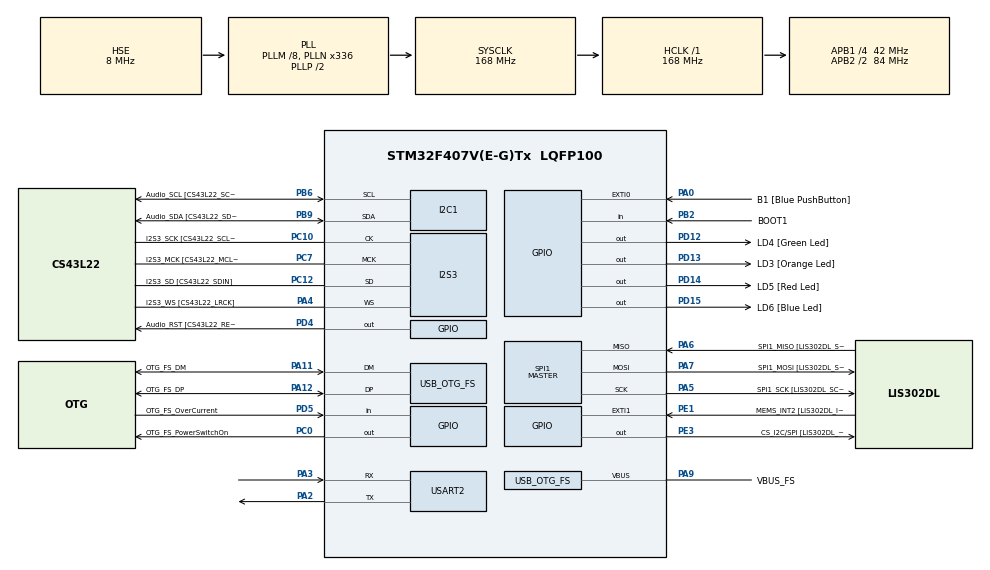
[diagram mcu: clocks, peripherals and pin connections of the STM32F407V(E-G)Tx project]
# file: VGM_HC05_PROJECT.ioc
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FREERTOS.Tasks01=defaultTask,0,128,StartDefaultTask,Default,NULL,Dynamic,NULL,NULL;Appl_Task1,-3,512,Application_Task1,Default,NULL,Dynamic,NULL,NULL
I2S3.AudioFreq-Half_Duplex_Master=I2S_AUDIOFREQ_96K
I2S3.ErrorAudioFreq=-2.34 %
I2S3.ErrorAudioFreq-Half_Duplex_Master=0.8 %
I2S3.FullDuplexMode=I2S_FULLDUPLEXMODE_DISABLE
I2S3.Instance=SPI$Index
I2S3.RealAudioFreq=93.75 KHz
I2S3.RealAudioFreq-Half_Duplex_Master=96.774 KHz
I2S3.VirtualMode=I2S_MODE_MASTER
Mcu.Family=STM32F4
Mcu.Name=STM32F407V(E-G)Tx
Mcu.Package=LQFP100
NVIC.OTG_FS_IRQn=true\:5\:0\:false\:false\:true\:true\:true\:true
NVIC.PriorityGroup=NVIC_PRIORITYGROUP_4
NVIC.TIM1_UP_TIM10_IRQn=true\:0\:0\:false\:false\:true\:false\:false\:true
NVIC.TimeBase=TIM1_UP_TIM10_IRQn
NVIC.TimeBaseIP=TIM1
PA0-WKUP.GPIO_Label=B1 [Blue PushButton]
PA0-WKUP.GPIO_ModeDefaultEXTI=GPIO_MODE_EVT_RISING
PA0-WKUP.GPIO_PuPd=GPIO_NOPULL
PA0-WKUP.Signal=GPXTI0
PA10.GPIO_Label=OTG_FS_ID
PA10.GPIO_Mode=GPIO_MODE_AF_PP
PA10.GPIO_PuPd=GPIO_NOPULL
PA10.GPIO_Speed=GPIO_SPEED_FREQ_LOW
PA10.Signal=USB_OTG_FS_ID
PA11.GPIO_Label=OTG_FS_DM
PA11.GPIO_Mode=GPIO_MODE_AF_PP
PA11.GPIO_PuPd=GPIO_NOPULL
PA11.GPIO_Speed=GPIO_SPEED_FREQ_LOW
PA11.Mode=Host_Only
PA11.Signal=USB_OTG_FS_DM
PA12.GPIO_Label=OTG_FS_DP
PA12.GPIO_Mode=GPIO_MODE_AF_PP
PA12.GPIO_PuPd=GPIO_NOPULL
PA12.GPIO_Speed=GPIO_SPEED_FREQ_LOW
PA12.Mode=Host_Only
PA12.Signal=USB_OTG_FS_DP
PA13.GPIO_Label=SWDIO
PA13.Mode=Serial_Wire
PA13.Signal=SYS_JTMS-SWDIO
PA14.GPIO_Label=SWCLK
PA14.Mode=Serial_Wire
PA14.Signal=SYS_JTCK-SWCLK
PA2.Mode=Asynchronous
PA2.Signal=USART2_TX
PA3.Mode=Asynchronous
PA3.Signal=USART2_RX
PA4.GPIO_Label=I2S3_WS [CS43L22_LRCK]
PA4.GPIO_Mode=GPIO_MODE_AF_PP
PA4.GPIO_PuPd=GPIO_NOPULL
PA4.GPIO_Speed=GPIO_SPEED_FREQ_LOW
PA4.Mode=Half_Duplex_Master
PA4.Signal=I2S3_WS
PA5.GPIO_Label=SPI1_SCK [LIS302DL_SCL/SPC]
PA5.GPIO_Mode=GPIO_MODE_AF_PP
PA5.GPIO_PuPd=GPIO_NOPULL
PA5.GPIO_Speed=GPIO_SPEED_FREQ_LOW
PA5.Mode=Full_Duplex_Master
PA5.Signal=SPI1_SCK
PA6.GPIO_Label=SPI1_MISO [LIS302DL_SDO]
PA6.GPIO_Mode=GPIO_MODE_AF_PP
PA6.GPIO_PuPd=GPIO_NOPULL
PA6.GPIO_Speed=GPIO_SPEED_FREQ_LOW
PA6.Mode=Full_Duplex_Master
PA6.Signal=SPI1_MISO
PA7.GPIO_Label=SPI1_MOSI [LIS302DL_SDA/SDI/SDO]
PA7.GPIO_Mode=GPIO_MODE_AF_PP
PA7.GPIO_PuPd=GPIO_NOPULL
PA7.GPIO_Speed=GPIO_SPEED_FREQ_LOW
PA7.Mode=Full_Duplex_Master
PA7.Signal=SPI1_MOSI
PA9.GPIO_Label=VBUS_FS
PA9.GPIO_Mode=GPIO_MODE_INPUT
PA9.GPIO_PuPd=GPIO_NOPULL
PA9.Mode=Activate_VBUS
PA9.Signal=USB_OTG_FS_VBUS
PB10.GPIO_Label=CLK_IN [MP45DT02_CLK]
PB10.GPIO_Mode=GPIO_MODE_AF_PP
PB10.GPIO_PuPd=GPIO_NOPULL
PB10.GPIO_Speed=GPIO_SPEED_FREQ_LOW
PB10.Signal=I2S2_CK
PB2.GPIO_Label=BOOT1
PB2.GPIO_Mode=GPIO_MODE_INPUT
PB2.GPIO_PuPd=GPIO_NOPULL
PB2.Signal=GPIO_Input
PB3.GPIO_Label=SWO
PB3.Signal=SYS_JTDO-SWO
PB6.GPIO_Label=Audio_SCL [CS43L22_SCL]
PB6.GPIO_Mode=GPIO_MODE_AF_OD
PB6.GPIO_PuPd=GPIO_NOPULL
PB6.GPIO_Speed=GPIO_SPEED_FREQ_LOW
PB6.Mode=I2C
PB6.Signal=I2C1_SCL
PB9.GPIO_Label=Audio_SDA [CS43L22_SDA]
PB9.GPIO_Mode=GPIO_MODE_AF_OD
PB9.GPIO_PuPd=GPIO_NOPULL
PB9.GPIO_Speed=GPIO_SPEED_FREQ_LOW
PB9.Mode=I2C
PB9.Signal=I2C1_SDA
PC0.GPIO_Label=OTG_FS_PowerSwitchOn
PC0.GPIO_PuPd=GPIO_NOPULL
PC0.GPIO_Speed=GPIO_SPEED_FREQ_LOW
PC0.PinState=GPIO_PIN_SET
PC0.Signal=GPIO_Output
PC10.GPIO_Label=I2S3_SCK [CS43L22_SCLK]
PC10.GPIO_Mode=GPIO_MODE_AF_PP
PC10.GPIO_PuPd=GPIO_NOPULL
PC10.GPIO_Speed=GPIO_SPEED_FREQ_LOW
PC10.Mode=Half_Duplex_Master
PC10.Signal=I2S3_CK
PC12.GPIO_Label=I2S3_SD [CS43L22_SDIN]
PC12.GPIO_Mode=GPIO_MODE_AF_PP
PC12.GPIO_PuPd=GPIO_NOPULL
PC12.GPIO_Speed=GPIO_SPEED_FREQ_LOW
PC12.Mode=Half_Duplex_Master
PC12.Signal=I2S3_SD
PC14-OSC32_IN.GPIO_Label=PC14-OSC32_IN
PC14-OSC32_IN.Mode=LSE-External-Oscillator
PC14-OSC32_IN.Signal=RCC_OSC32_IN
PC15-OSC32_OUT.GPIO_Label=PC15-OSC32_OUT
PC15-OSC32_OUT.Mode=LSE-External-Oscillator
PC15-OSC32_OUT.Signal=RCC_OSC32_OUT
PC3.GPIO_Label=PDM_OUT [MP45DT02_DOUT]
PC3.GPIO_Mode=GPIO_MODE_AF_PP
PC3.GPIO_PuPd=GPIO_NOPULL
PC3.GPIO_Speed=GPIO_SPEED_FREQ_LOW
PC3.Signal=I2S2_SD
PC7.GPIO_Label=I2S3_MCK [CS43L22_MCLK]
PC7.GPIO_Mode=GPIO_MODE_AF_PP
PC7.GPIO_PuPd=GPIO_NOPULL
PC7.GPIO_Speed=GPIO_SPEED_FREQ_LOW
PC7.Mode=Master_Clock_Activated
PC7.Signal=I2S3_MCK
PD12.GPIO_Label=LD4 [Green Led]
PD12.GPIO_PuPd=GPIO_NOPULL
PD12.GPIO_Speed=GPIO_SPEED_FREQ_LOW
PD12.Signal=GPIO_Output
PD13.GPIO_Label=LD3 [Orange Led]
PD13.GPIO_PuPd=GPIO_NOPULL
PD13.GPIO_Speed=GPIO_SPEED_FREQ_LOW
PD13.Signal=GPIO_Output
PD14.GPIO_Label=LD5 [Red Led]
PD14.GPIO_PuPd=GPIO_NOPULL
PD14.GPIO_Speed=GPIO_SPEED_FREQ_LOW
PD14.Signal=GPIO_Output
PD15.GPIO_Label=LD6 [Blue Led]
PD15.GPIO_PuPd=GPIO_NOPULL
PD15.GPIO_Speed=GPIO_SPEED_FREQ_LOW
PD15.Signal=GPIO_Output
PD4.GPIO_Label=Audio_RST [CS43L22_RESET]
PD4.GPIO_PuPd=GPIO_NOPULL
PD4.GPIO_Speed=GPIO_SPEED_FREQ_LOW
PD4.Signal=GPIO_Output
PD5.GPIO_Label=OTG_FS_OverCurrent
PD5.GPIO_Mode=GPIO_MODE_INPUT
PD5.GPIO_PuPd=GPIO_NOPULL
PD5.Signal=GPIO_Input
PE1.GPIO_Label=MEMS_INT2 [LIS302DL_INT2]
PE1.GPIO_ModeDefaultEXTI=GPIO_MODE_EVT_RISING
PE1.GPIO_PuPd=GPIO_NOPULL
PE1.Signal=GPXTI1
PE3.GPIO_Label=CS_I2C/SPI [LIS302DL_CS_I2C/SPI]
PE3.GPIO_PuPd=GPIO_NOPULL
PE3.GPIO_Speed=GPIO_SPEED_FREQ_LOW
PE3.Signal=GPIO_Output
PH0-OSC_IN.GPIO_Label=PH0-OSC_IN
PH0-OSC_IN.Mode=HSE-External-Oscillator
PH0-OSC_IN.Signal=RCC_OSC_IN
PH1-OSC_OUT.GPIO_Label=PH1-OSC_OUT
PH1-OSC_OUT.Mode=HSE-External-Oscillator
PH1-OSC_OUT.Signal=RCC_OSC_OUT
ProjectManager.HeapSize=0x200
ProjectManager.StackSize=0x400
ProjectManager.TargetToolchain=STM32CubeIDE
RCC.48MHZClocksFreq_Value=48000000
RCC.AHBFreq_Value=168000000
RCC.APB1CLKDivider=RCC_HCLK_DIV4
RCC.APB1Freq_Value=42000000
RCC.APB1TimFreq_Value=84000000
RCC.APB2CLKDivider=RCC_HCLK_DIV2
RCC.APB2Freq_Value=84000000
RCC.APB2TimFreq_Value=168000000
RCC.CortexFreq_Value=168000000
RCC.HCLKFreq_Value=168000000
RCC.HSE_VALUE=8000000
RCC.HSI_VALUE=16000000
RCC.PLLM=8
RCC.PLLN=336
RCC.PLLQ=7
RCC.SYSCLKFreq_VALUE=168000000
RCC.SYSCLKSource=RCC_SYSCLKSOURCE_PLLCLK
RCC.VCOOutputFreq_Value=336000000
SPI1.BaudRatePrescaler-Full_Duplex_Master=SPI_BAUDRATEPRESCALER_2
SPI1.CalculateBaudRate-Full_Duplex_Master=42.0 MBits/s
SPI1.Direction=SPI_DIRECTION_2LINES
SPI1.Mode=SPI_MODE_MASTER
SPI1.Mode-Full_Duplex_Master=SPI_MODE_MASTER
SPI1.VirtualType=VM_MASTER
USART2.VirtualMode=VM_ASYNC
USB_HOST.BSP.number=1
USB_HOST.USBH_HandleTypeDef-CDC_FS=hUsbHostFS
USB_HOST.USBH_USE_OS-CDC_FS=0
USB_HOST.VirtualModeFS=Cdc
USB_HOST0.BSP.STBoard=false
USB_HOST0.BSP.api=Unknown
USB_HOST0.BSP.i2caddr=0
USB_HOST0.BSP.i2creg=0
USB_HOST0.BSP.instance=PC0
USB_HOST0.BSP.ip=GPIO
USB_HOST0.BSP.mode=Output
USB_HOST0.BSP.name=Drive_VBUS_FS
USB_HOST0.BSP.solution=PC0
USB_OTG_FS.VirtualMode=Host_Only
USB_OTG_FS.phy_itface=HCD_PHY_EMBEDDED
VP_FREERTOS_VS_CMSIS_V1.Mode=CMSIS_V1
VP_SYS_VS_tim1.Mode=TIM1
VP_USB_HOST_VS_USB_HOST_CDC_FS.Mode=CDC_FS
board=STM32F407G-DISC1

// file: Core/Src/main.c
/* USER CODE BEGIN Header */
/**
  ******************************************************************************
  * @file           : main.c
  * @brief          : Main program body
  ******************************************************************************
  * @attention
  *
  * <h2><center>&copy; Copyright (c) 2021 STMicroelectronics.
  * All rights reserved.</center></h2>
  *
  * This software component is licensed by ST under Ultimate Liberty license
  * SLA0044, the "License"; You may not use this file except in compliance with
  * the License. You may obtain a copy of the License at:
  *                             www.st.com/SLA0044
  *
  ******************************************************************************
  */
/* USER CODE END Header */
#include "main.h"
#include "cmsis_os.h"
#include "usb_host.h"

/* USER CODE BEGIN Includes */
#include "stm32_uart.h"
/* USER CODE END Includes */

I2C_HandleTypeDef hi2c1;

I2S_HandleTypeDef hi2s3;

SPI_HandleTypeDef hspi1;

UART_HandleTypeDef huart2;

osThreadId defaultTaskHandle;
osThreadId Appl_Task1Handle;

void SystemClock_Config(void);
static void MX_GPIO_Init(void);
static void MX_I2C1_Init(void);
static void MX_I2S3_Init(void);
static void MX_SPI1_Init(void);
static void MX_USART2_UART_Init(void);
void StartDefaultTask(void const * argument);
void Application_Task1(void const * argument);

int main(void)
{

  /* MCU Configuration--------------------------------------------------------*/

  /* Reset of all peripherals, Initializes the Flash interface and the Systick. */
  HAL_Init();

  /* Configure the system clock */
  SystemClock_Config();

  /* Initialize all configured peripherals */
  MX_GPIO_Init();
  MX_I2C1_Init();
  MX_I2S3_Init();
  MX_SPI1_Init();
  MX_USART2_UART_Init();

  /* Create the thread(s) */
  /* definition and creation of defaultTask */
  osThreadDef(defaultTask, StartDefaultTask, osPriorityNormal, 0, 128);
  defaultTaskHandle = osThreadCreate(osThread(defaultTask), NULL);

  /* definition and creation of Appl_Task1 */
  osThreadDef(Appl_Task1, Application_Task1, osPriorityIdle, 0, 512);
  Appl_Task1Handle = osThreadCreate(osThread(Appl_Task1), NULL);

  /* Start scheduler */
  osKernelStart();

  /* We should never get here as control is now taken by the scheduler */
  /* Infinite loop */
  while (1)
  {

  }
}

void SystemClock_Config(void)
{
  RCC_OscInitTypeDef RCC_OscInitStruct = {0};
  RCC_ClkInitTypeDef RCC_ClkInitStruct = {0};
  RCC_PeriphCLKInitTypeDef PeriphClkInitStruct = {0};

  /** Configure the main internal regulator output voltage
  */
  __HAL_RCC_PWR_CLK_ENABLE();
  __HAL_PWR_VOLTAGESCALING_CONFIG(PWR_REGULATOR_VOLTAGE_SCALE1);
  /** Initializes the RCC Oscillators according to the specified parameters
  * in the RCC_OscInitTypeDef structure.
  */
  RCC_OscInitStruct.OscillatorType = RCC_OSCILLATORTYPE_HSE;
  RCC_OscInitStruct.HSEState = RCC_HSE_ON;
  RCC_OscInitStruct.PLL.PLLState = RCC_PLL_ON;
  RCC_OscInitStruct.PLL.PLLSource = RCC_PLLSOURCE_HSE;
  RCC_OscInitStruct.PLL.PLLM = 8;
  RCC_OscInitStruct.PLL.PLLN = 336;
  RCC_OscInitStruct.PLL.PLLP = RCC_PLLP_DIV2;
  RCC_OscInitStruct.PLL.PLLQ = 7;
  if (HAL_RCC_OscConfig(&RCC_OscInitStruct) != HAL_OK)
  {
    Error_Handler();
  }
  /** Initializes the CPU, AHB and APB buses clocks
  */
  RCC_ClkInitStruct.ClockType = RCC_CLOCKTYPE_HCLK|RCC_CLOCKTYPE_SYSCLK
                              |RCC_CLOCKTYPE_PCLK1|RCC_CLOCKTYPE_PCLK2;
  RCC_ClkInitStruct.SYSCLKSource = RCC_SYSCLKSOURCE_PLLCLK;
  RCC_ClkInitStruct.AHBCLKDivider = RCC_SYSCLK_DIV1;
  RCC_ClkInitStruct.APB1CLKDivider = RCC_HCLK_DIV4;
  RCC_ClkInitStruct.APB2CLKDivider = RCC_HCLK_DIV2;

  if (HAL_RCC_ClockConfig(&RCC_ClkInitStruct, FLASH_LATENCY_5) != HAL_OK)
  {
    Error_Handler();
  }
  PeriphClkInitStruct.PeriphClockSelection = RCC_PERIPHCLK_I2S;
  PeriphClkInitStruct.PLLI2S.PLLI2SN = 192;
  PeriphClkInitStruct.PLLI2S.PLLI2SR = 2;
  if (HAL_RCCEx_PeriphCLKConfig(&PeriphClkInitStruct) != HAL_OK)
  {
    Error_Handler();
  }
}

static void MX_I2C1_Init(void)
{

  hi2c1.Instance = I2C1;
  hi2c1.Init.ClockSpeed = 100000;
  hi2c1.Init.DutyCycle = I2C_DUTYCYCLE_2;
  hi2c1.Init.OwnAddress1 = 0;
  hi2c1.Init.AddressingMode = I2C_ADDRESSINGMODE_7BIT;
  hi2c1.Init.DualAddressMode = I2C_DUALADDRESS_DISABLE;
  hi2c1.Init.OwnAddress2 = 0;
  hi2c1.Init.GeneralCallMode = I2C_GENERALCALL_DISABLE;
  hi2c1.Init.NoStretchMode = I2C_NOSTRETCH_DISABLE;
  if (HAL_I2C_Init(&hi2c1) != HAL_OK)
  {
    Error_Handler();
  }

}

static void MX_I2S3_Init(void)
{

  hi2s3.Instance = SPI3;
  hi2s3.Init.Mode = I2S_MODE_MASTER_TX;
  hi2s3.Init.Standard = I2S_STANDARD_PHILIPS;
  hi2s3.Init.DataFormat = I2S_DATAFORMAT_16B;
  hi2s3.Init.MCLKOutput = I2S_MCLKOUTPUT_ENABLE;
  hi2s3.Init.AudioFreq = I2S_AUDIOFREQ_96K;
  hi2s3.Init.CPOL = I2S_CPOL_LOW;
  hi2s3.Init.ClockSource = I2S_CLOCK_PLL;
  hi2s3.Init.FullDuplexMode = I2S_FULLDUPLEXMODE_DISABLE;
  if (HAL_I2S_Init(&hi2s3) != HAL_OK)
  {
    Error_Handler();
  }

}

static void MX_SPI1_Init(void)
{

  /* SPI1 parameter configuration*/
  hspi1.Instance = SPI1;
  hspi1.Init.Mode = SPI_MODE_MASTER;
  hspi1.Init.Direction = SPI_DIRECTION_2LINES;
  hspi1.Init.DataSize = SPI_DATASIZE_8BIT;
  hspi1.Init.CLKPolarity = SPI_POLARITY_LOW;
  hspi1.Init.CLKPhase = SPI_PHASE_1EDGE;
  hspi1.Init.NSS = SPI_NSS_SOFT;
  hspi1.Init.BaudRatePrescaler = SPI_BAUDRATEPRESCALER_2;
  hspi1.Init.FirstBit = SPI_FIRSTBIT_MSB;
  hspi1.Init.TIMode = SPI_TIMODE_DISABLE;
  hspi1.Init.CRCCalculation = SPI_CRCCALCULATION_DISABLE;
  hspi1.Init.CRCPolynomial = 10;
  if (HAL_SPI_Init(&hspi1) != HAL_OK)
  {
    Error_Handler();
  }

}

static void MX_USART2_UART_Init(void)
{

  huart2.Instance = USART2;
  huart2.Init.BaudRate = 9600;
  huart2.Init.WordLength = UART_WORDLENGTH_8B;
  huart2.Init.StopBits = UART_STOPBITS_1;
  huart2.Init.Parity = UART_PARITY_NONE;
  huart2.Init.Mode = UART_MODE_TX_RX;
  huart2.Init.HwFlowCtl = UART_HWCONTROL_NONE;
  huart2.Init.OverSampling = UART_OVERSAMPLING_16;
  if (HAL_UART_Init(&huart2) != HAL_OK)
  {
    Error_Handler();
  }

}

static void MX_GPIO_Init(void)
{
  GPIO_InitTypeDef GPIO_InitStruct = {0};

  /* GPIO Ports Clock Enable */
  __HAL_RCC_GPIOE_CLK_ENABLE();
  __HAL_RCC_GPIOC_CLK_ENABLE();
  __HAL_RCC_GPIOH_CLK_ENABLE();
  __HAL_RCC_GPIOA_CLK_ENABLE();
  __HAL_RCC_GPIOB_CLK_ENABLE();
  __HAL_RCC_GPIOD_CLK_ENABLE();

  /*Configure GPIO pin Output Level */
  HAL_GPIO_WritePin(CS_I2C_SPI_GPIO_Port, CS_I2C_SPI_Pin, GPIO_PIN_RESET);

  /*Configure GPIO pin Output Level */
  HAL_GPIO_WritePin(OTG_FS_PowerSwitchOn_GPIO_Port, OTG_FS_PowerSwitchOn_Pin, GPIO_PIN_SET);

  /*Configure GPIO pin Output Level */
  HAL_GPIO_WritePin(GPIOD, LD4_Pin|LD3_Pin|LD5_Pin|LD6_Pin
                          |Audio_RST_Pin, GPIO_PIN_RESET);

  /*Configure GPIO pin : CS_I2C_SPI_Pin */
  GPIO_InitStruct.Pin = CS_I2C_SPI_Pin;
  GPIO_InitStruct.Mode = GPIO_MODE_OUTPUT_PP;
  GPIO_InitStruct.Pull = GPIO_NOPULL;
  GPIO_InitStruct.Speed = GPIO_SPEED_FREQ_LOW;
  HAL_GPIO_Init(CS_I2C_SPI_GPIO_Port, &GPIO_InitStruct);

  /*Configure GPIO pin : OTG_FS_PowerSwitchOn_Pin */
  GPIO_InitStruct.Pin = OTG_FS_PowerSwitchOn_Pin;
  GPIO_InitStruct.Mode = GPIO_MODE_OUTPUT_PP;
  GPIO_InitStruct.Pull = GPIO_NOPULL;
  GPIO_InitStruct.Speed = GPIO_SPEED_FREQ_LOW;
  HAL_GPIO_Init(OTG_FS_PowerSwitchOn_GPIO_Port, &GPIO_InitStruct);

  /*Configure GPIO pin : PDM_OUT_Pin */
  GPIO_InitStruct.Pin = PDM_OUT_Pin;
  GPIO_InitStruct.Mode = GPIO_MODE_AF_PP;
  GPIO_InitStruct.Pull = GPIO_NOPULL;
  GPIO_InitStruct.Speed = GPIO_SPEED_FREQ_LOW;
  GPIO_InitStruct.Alternate = GPIO_AF5_SPI2;
  HAL_GPIO_Init(PDM_OUT_GPIO_Port, &GPIO_InitStruct);

  /*Configure GPIO pin : B1_Pin */
  GPIO_InitStruct.Pin = B1_Pin;
  GPIO_InitStruct.Mode = GPIO_MODE_EVT_RISING;
  GPIO_InitStruct.Pull = GPIO_NOPULL;
  HAL_GPIO_Init(B1_GPIO_Port, &GPIO_InitStruct);

  /*Configure GPIO pin : BOOT1_Pin */
  GPIO_InitStruct.Pin = BOOT1_Pin;
  GPIO_InitStruct.Mode = GPIO_MODE_INPUT;
  GPIO_InitStruct.Pull = GPIO_NOPULL;
  HAL_GPIO_Init(BOOT1_GPIO_Port, &GPIO_InitStruct);

  /*Configure GPIO pin : CLK_IN_Pin */
  GPIO_InitStruct.Pin = CLK_IN_Pin;
  GPIO_InitStruct.Mode = GPIO_MODE_AF_PP;
  GPIO_InitStruct.Pull = GPIO_NOPULL;
  GPIO_InitStruct.Speed = GPIO_SPEED_FREQ_LOW;
  GPIO_InitStruct.Alternate = GPIO_AF5_SPI2;
  HAL_GPIO_Init(CLK_IN_GPIO_Port, &GPIO_InitStruct);

  /*Configure GPIO pins : LD4_Pin LD3_Pin LD5_Pin LD6_Pin
                           Audio_RST_Pin */
  GPIO_InitStruct.Pin = LD4_Pin|LD3_Pin|LD5_Pin|LD6_Pin
                          |Audio_RST_Pin;
  GPIO_InitStruct.Mode = GPIO_MODE_OUTPUT_PP;
  GPIO_InitStruct.Pull = GPIO_NOPULL;
  GPIO_InitStruct.Speed = GPIO_SPEED_FREQ_LOW;
  HAL_GPIO_Init(GPIOD, &GPIO_InitStruct);

  /*Configure GPIO pin : OTG_FS_OverCurrent_Pin */
  GPIO_InitStruct.Pin = OTG_FS_OverCurrent_Pin;
  GPIO_InitStruct.Mode = GPIO_MODE_INPUT;
  GPIO_InitStruct.Pull = GPIO_NOPULL;
  HAL_GPIO_Init(OTG_FS_OverCurrent_GPIO_Port, &GPIO_InitStruct);

  /*Configure GPIO pin : MEMS_INT2_Pin */
  GPIO_InitStruct.Pin = MEMS_INT2_Pin;
  GPIO_InitStruct.Mode = GPIO_MODE_EVT_RISING;
  GPIO_InitStruct.Pull = GPIO_NOPULL;
  HAL_GPIO_Init(MEMS_INT2_GPIO_Port, &GPIO_InitStruct);

}

void StartDefaultTask(void const * argument)
{
  /* init code for USB_HOST */
  MX_USB_HOST_Init();
  for(;;)
  {
    osDelay(1);
  }
}

void Application_Task1(void const * argument)
{
  /* USER CODE BEGIN Application_Task1 */
	stm32Uart_RxInterruptEnable(&huart2,1);
	stm32Uart_TxInterruptEnable(&huart2,0);

  /* Infinite loop */
  for(;;)
  {
    osDelay(1);
    if(Appl_u8UartRxCompleteFlag)
    {
    	Appl_u8UartRxCompleteFlag = 0;
    	if(vishwaUartRX_buffer[0] == 0x31)
    	{
    		HAL_GPIO_TogglePin(GPIOD, LD4_Pin);
    		memset(&vishwaUartRX_buffer,0,sizeof(vishwaUartRX_buffer));

    	}
    	stm32Uart_RxInterruptEnable(&huart2,1);
    }

    if(HAL_GPIO_ReadPin(B1_GPIO_Port,B1_Pin) == GPIO_PIN_SET)
    {
    	if(Appl_u8UartTxCompleteFlag == 1)
    	{
    		Appl_u8UartTxCompleteFlag = 0;
        	stm32Uart_RxInterruptEnable(&huart2,0);
        	vishwaUartTX_buffer[0] = 0x41;
        	vishwaUartTX_buffer[1] = 0x42;
        	vishwaUartTX_buffer[2] = 0x0A;
        	Appl_u8TxLength = 3;
        	TxByteCount=0;
        	stm32Uart_TxInterruptEnable(&huart2,1);
    	}

    }
  }
  /* USER CODE END Application_Task1 */
}

 /**
  * @brief  Period elapsed callback in non blocking mode
  * @note   This function is called  when TIM1 interrupt took place, inside
  * HAL_TIM_IRQHandler(). It makes a direct call to HAL_IncTick() to increment
  * a global variable "uwTick" used as application time base.
  * @param  htim : TIM handle
  * @retval None
  */
void HAL_TIM_PeriodElapsedCallback(TIM_HandleTypeDef *htim)
{
  if (htim->Instance == TIM1) {
    HAL_IncTick();
  }
}

void Error_Handler(void)
{
  __disable_irq();
  while (1)
  {
  }
}

/************************ (C) COPYRIGHT STMicroelectronics *****END OF FILE****/
